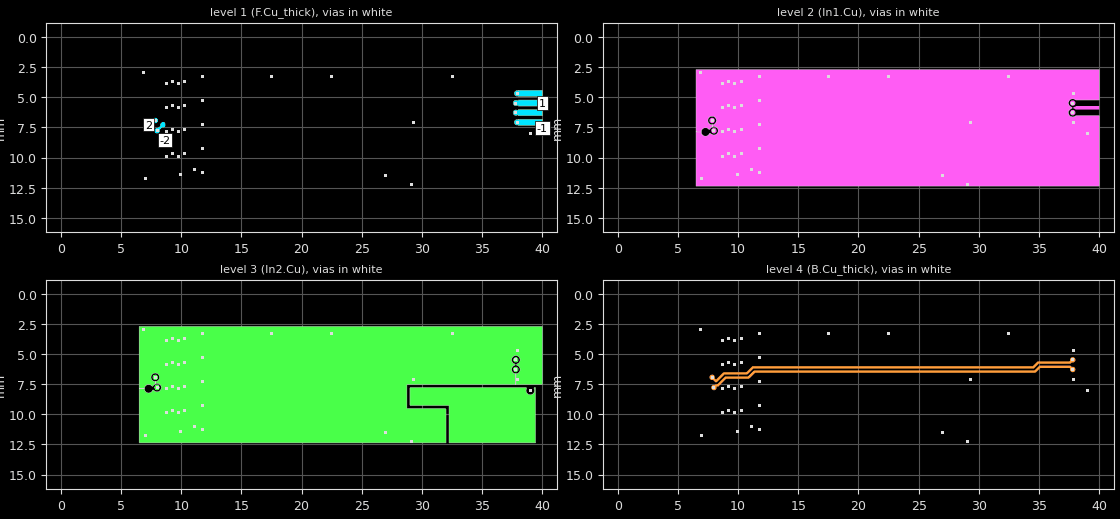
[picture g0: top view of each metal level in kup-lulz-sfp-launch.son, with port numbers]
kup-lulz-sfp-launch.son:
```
FTYP SONPROJ 19 ! Sonnet Project File
VER 18.56
HEADER
LIC antikernel2.1.52448
DAT 03/01/2024 21:13:18
BUILT_BY_CREATED dxf 18.56 02/22/2024 23:40:04
BUILT_BY_SAVED sonnet 18.56
MDATE 03/01/2024 21:13:18
HDATE 03/01/2024 21:13:18
ANN Created by dxfgeo, Sonnet Software Inc.
END HEADER
DIM
ANG DEG
CAP PF
CON /OH
FREQ GHZ
IND NH
LNG MM
RES OH
END DIM
CONTROL
VARSWP
OPTIONS  -dj
SPEED 1
CACHE_ABS 2
Q_ACC N
END CONTROL
GEO
TMET "Free Space" 0 FREESPACE 376.7303136 0 0 0
BMET "Free Space" 0 FREESPACE 376.7303136 0 0 0
MET "Copper_1oz+plated_thick_up" 1 TMM 58000000 0.5 0.0432 2
MET "Copper_1oz+plated_thin" 4 NOR 58000000 0.5 0.0432 
MET "Copper_0.5oz_thin" 2 NOR 58000000 0.5 0.0175 
MET "Copper_1oz+plated_thick_down" 3 TMM 58000000 0.5 0.0432 2 CDVY TDWN
BOX 6 40 15 3200 1200 20 0
      10 1 1 0 0 0 0 "Air"
      0.05 3.5 1 0.02 0 0 0 "Soldermask"
      0.2021 3.61 1 0.0092 0 0 0 "Isola_FR408HR"
      1.1938 3.61 1 0.0092 0 0 0 "Isola_FR408HR"
      0.2021 3.61 1 0.0092 0 0 0 "Isola_FR408HR"
      0.05 3.5 1 0.02 0 0 0 "Soldermask"
      10 1 1 0 0 0 0 "Air"
TECHLAY METAL F.Cu_thick L1D0 -1 -65534 CAD F.Cu drawing 
1 0 0 N 2088 1 1 100 100 0 0 0 Y
END
END
TECHLAY METAL F.Cu_thin <UNSPECIFIED> -2 -65534 CAD F.Cu_thin drawing 
1 0 1 N 2090 1 1 100 100 0 0 0 Y
END
END
TECHLAY VIA Via1 L5D0 -7 -65534 CAD Via1 drawing 
VIA POLYGON
1 0 -1 N 2550 1 1 100 100 0 0 0 Y
TOLEVEL 4 RING NOCOVERS
END
END
TECHLAY METAL In1.Cu L2D0 -3 -65534 CAD In1.Cu drawing 
2 0 2 N 2095 1 1 100 100 0 0 0 Y
END
END
TECHLAY METAL In2.Cu L3D0 -4 -65534 CAD In2.Cu drawing 
3 0 2 N 2098 1 1 100 100 0 0 0 Y
END
END
TECHLAY METAL B.Cu_thick L4D0 -5 -65534 CAD B.Cu drawing 
4 0 3 N 2101 1 1 100 100 0 0 0 Y
END
END
TECHLAY METAL B.Cu_thin <UNSPECIFIED> -6 -65534 CAD B.Cu_thin drawing 
4 0 1 N 2103 1 1 100 100 0 0 0 Y
END
END
LORGN 0 15 U 
POR1 BOX
POLY 2221 1
51
1 100 0 0 0 39.993 5.471 
POR1 BOX
POLY 2454 1
51
-1 100 0 0 0 39.993 6.271 
POR1 CUP Auto
GNDREF AUTO
TERMW FEED
POLY 2530 1
90
2 100 0 0 0 7.3 7.271 
CUPGRP "Auto" LOCAL
ID 2548
END
POR1 CUP Auto
GNDREF AUTO
TERMW FEED
POLY 2532 1
33
-2 100 0 0 0 8.675 7.271 
CUPGRP "Auto" LOCAL
ID 2549
END
NUM 58
1 53 0 N 2221 1 1 100 100 0 0 0 Y
TLAYNAM F.Cu_thick INH
39.993 5.721
37.993 5.721
37.993 5.661
37.914 5.661
37.909 5.664
37.889 5.674
37.869 5.683
37.848 5.689
37.826 5.694
37.804 5.696
37.782 5.696
37.76 5.694
37.738 5.689
37.717 5.683
37.697 5.674
37.677 5.664
37.659 5.652
37.642 5.638
37.626 5.622
37.612 5.605
37.6 5.587
37.59 5.567
37.581 5.547
37.575 5.526
37.57 5.504
37.568 5.482
37.568 5.46
37.57 5.438
37.575 5.416
37.581 5.395
37.59 5.375
37.6 5.355
37.612 5.337
37.626 5.32
37.642 5.304
37.659 5.29
37.677 5.278
37.697 5.268
37.717 5.259
37.738 5.253
37.76 5.248
37.782 5.246
37.804 5.246
37.826 5.248
37.848 5.253
37.869 5.259
37.889 5.268
37.909 5.278
37.914 5.281
37.993 5.281
37.993 5.221
39.993 5.221
39.993 5.721
END
1 49 0 N 2225 1 1 100 100 0 0 0 Y
TLAYNAM F.Cu_thick INH
39.993 7.321
37.993 7.321
37.993 7.272
37.989 7.274
37.969 7.283
37.948 7.289
37.926 7.294
37.904 7.296
37.882 7.296
37.86 7.294
37.838 7.289
37.817 7.283
37.797 7.274
37.777 7.264
37.759 7.252
37.742 7.238
37.726 7.222
37.712 7.205
37.7 7.187
37.69 7.167
37.681 7.147
37.675 7.126
37.67 7.104
37.668 7.082
37.668 7.06
37.67 7.038
37.675 7.016
37.681 6.995
37.69 6.975
37.7 6.955
37.712 6.937
37.726 6.92
37.742 6.904
37.759 6.89
37.777 6.878
37.797 6.868
37.817 6.859
37.838 6.853
37.86 6.848
37.882 6.846
37.904 6.846
37.926 6.848
37.948 6.853
37.969 6.859
37.989 6.868
37.993 6.87
37.993 6.821
39.993 6.821
39.993 7.321
END
1 49 0 N 2400 1 1 100 100 0 0 0 Y
TLAYNAM F.Cu_thick INH
39.993 4.921
37.993 4.921
37.993 4.872
37.989 4.874
37.969 4.883
37.948 4.889
37.926 4.894
37.904 4.896
37.882 4.896
37.86 4.894
37.838 4.889
37.817 4.883
37.797 4.874
37.777 4.864
37.759 4.852
37.742 4.838
37.726 4.822
37.712 4.805
37.7 4.787
37.69 4.767
37.681 4.747
37.675 4.726
37.67 4.704
37.668 4.682
37.668 4.66
37.67 4.638
37.675 4.616
37.681 4.595
37.69 4.575
37.7 4.555
37.712 4.537
37.726 4.52
37.742 4.504
37.759 4.49
37.777 4.478
37.797 4.468
37.817 4.459
37.838 4.453
37.86 4.448
37.882 4.446
37.904 4.446
37.926 4.448
37.948 4.453
37.969 4.459
37.989 4.468
37.993 4.47
37.993 4.421
39.993 4.421
39.993 4.921
END
1 53 0 N 2454 1 1 100 100 0 0 0 Y
TLAYNAM F.Cu_thick INH
39.993 6.521
37.993 6.521
37.993 6.461
37.914 6.461
37.909 6.464
37.889 6.474
37.869 6.483
37.848 6.489
37.826 6.494
37.804 6.496
37.782 6.496
37.76 6.494
37.738 6.489
37.717 6.483
37.697 6.474
37.677 6.464
37.659 6.452
37.642 6.438
37.626 6.422
37.612 6.405
37.6 6.387
37.59 6.367
37.581 6.347
37.575 6.326
37.57 6.304
37.568 6.282
37.568 6.26
37.57 6.238
37.575 6.216
37.581 6.195
37.59 6.175
37.6 6.155
37.612 6.137
37.626 6.12
37.642 6.104
37.659 6.09
37.677 6.078
37.697 6.068
37.717 6.059
37.738 6.053
37.76 6.048
37.782 6.046
37.804 6.046
37.826 6.048
37.848 6.053
37.869 6.059
37.889 6.068
37.909 6.078
37.914 6.081
37.993 6.081
37.993 6.021
39.993 6.021
39.993 6.521
END
1 105 0 N 2530 1 1 100 100 0 0 0 Y
TLAYNAM F.Cu_thick INH
7.526 7.494
7.548 7.489
7.569 7.483
7.589 7.474
7.609 7.464
7.627 7.452
7.644 7.438
7.66 7.422
7.674 7.405
7.686 7.387
7.696 7.367
7.705 7.347
7.711 7.326
7.716 7.304
7.718 7.282
7.718 7.26
7.716 7.238
7.711 7.216
7.706 7.199
7.771 7.134
7.788 7.139
7.81 7.144
7.832 7.146
7.854 7.146
7.876 7.144
7.898 7.139
7.919 7.133
7.939 7.124
7.959 7.114
7.977 7.102
7.994 7.088
8.01 7.072
8.024 7.055
8.036 7.037
8.046 7.017
8.055 6.997
8.061 6.976
8.066 6.954
8.068 6.932
8.068 6.91
8.066 6.888
8.061 6.866
8.055 6.845
8.046 6.825
8.036 6.805
8.024 6.787
8.01 6.77
7.994 6.754
7.977 6.74
7.959 6.728
7.939 6.718
7.919 6.709
7.898 6.703
7.876 6.698
7.854 6.696
7.832 6.696
7.81 6.698
7.788 6.703
7.767 6.709
7.747 6.718
7.727 6.728
7.709 6.74
7.692 6.754
7.676 6.77
7.662 6.787
7.65 6.805
7.64 6.825
7.631 6.845
7.625 6.866
7.62 6.888
7.618 6.91
7.618 6.932
7.62 6.954
7.625 6.976
7.63 6.993
7.565 7.058
7.548 7.053
7.526 7.048
7.504 7.046
7.482 7.046
7.46 7.048
7.438 7.053
7.417 7.059
7.397 7.068
7.377 7.078
7.359 7.09
7.342 7.104
7.326 7.12
7.312 7.137
7.3 7.155
7.3 7.155
7.3 7.387
7.3 7.387
7.312 7.405
7.326 7.422
7.342 7.438
7.359 7.452
7.377 7.464
7.397 7.474
7.417 7.483
7.438 7.489
7.46 7.494
7.482 7.496
7.504 7.496
7.526 7.494
END
1 103 0 N 2532 1 1 100 100 0 0 0 Y
TLAYNAM F.Cu_thick INH
8.026 7.994
8.048 7.989
8.069 7.983
8.089 7.974
8.109 7.964
8.127 7.952
8.144 7.938
8.16 7.922
8.174 7.905
8.186 7.887
8.196 7.867
8.205 7.847
8.211 7.826
8.216 7.804
8.218 7.782
8.218 7.76
8.216 7.738
8.211 7.716
8.206 7.699
8.421 7.484
8.438 7.489
8.46 7.494
8.482 7.496
8.504 7.496
8.526 7.494
8.548 7.489
8.569 7.483
8.589 7.474
8.609 7.464
8.627 7.452
8.644 7.438
8.66 7.422
8.674 7.405
8.675 7.4035
8.675 7.1385
8.674 7.137
8.66 7.12
8.644 7.104
8.627 7.09
8.609 7.078
8.589 7.068
8.569 7.059
8.548 7.053
8.526 7.048
8.504 7.046
8.482 7.046
8.46 7.048
8.438 7.053
8.417 7.059
8.397 7.068
8.377 7.078
8.359 7.09
8.342 7.104
8.326 7.12
8.312 7.137
8.3 7.155
8.29 7.175
8.281 7.195
8.275 7.216
8.27 7.238
8.268 7.26
8.268 7.282
8.27 7.304
8.275 7.326
8.28 7.343
8.065 7.558
8.048 7.553
8.026 7.548
8.004 7.546
7.982 7.546
7.96 7.548
7.938 7.553
7.917 7.559
7.897 7.568
7.877 7.578
7.859 7.59
7.842 7.604
7.826 7.62
7.812 7.637
7.8 7.655
7.79 7.675
7.781 7.695
7.775 7.716
7.77 7.738
7.768 7.76
7.768 7.782
7.77 7.804
7.775 7.826
7.781 7.847
7.79 7.867
7.8 7.887
7.812 7.905
7.826 7.922
7.842 7.938
7.859 7.952
7.877 7.964
7.897 7.974
7.917 7.983
7.938 7.989
7.96 7.994
7.982 7.996
8.004 7.996
8.026 7.994
END
VIA POLYGON
1 5 -1 N 2214 1 1 100 100 0 0 0 Y
TOLEVEL 4 RING NOCOVERS
TLAYNAM Via1 INH
38.018 7.196
37.768 7.196
37.768 6.946
38.018 6.946
38.018 7.196
END
VIA POLYGON
1 5 -1 N 2230 1 1 100 100 0 0 0 Y
TOLEVEL 4 RING NOCOVERS
TLAYNAM Via1 INH
29.418 7.196
29.168 7.196
29.168 6.946
29.418 6.946
29.418 7.196
END
VIA POLYGON
1 5 -1 N 2236 1 1 100 100 0 0 0 Y
TOLEVEL 4 RING NOCOVERS
TLAYNAM Via1 INH
10.368 5.796
10.118 5.796
10.118 5.546
10.368 5.546
10.368 5.796
END
VIA POLYGON
1 5 -1 N 2241 1 1 100 100 0 0 0 Y
TOLEVEL 4 RING NOCOVERS
TLAYNAM Via1 INH
8.868 9.996
8.618 9.996
8.618 9.746
8.868 9.746
8.868 9.996
END
VIA POLYGON
1 5 -1 N 2242 1 1 100 100 0 0 0 Y
TOLEVEL 4 RING NOCOVERS
TLAYNAM Via1 INH
8.868 5.996
8.618 5.996
8.618 5.746
8.868 5.746
8.868 5.996
END
VIA POLYGON
1 5 -1 N 2253 1 1 100 100 0 0 0 Y
TOLEVEL 4 RING NOCOVERS
TLAYNAM Via1 INH
6.968 3.046
6.718 3.046
6.718 2.796
6.968 2.796
6.968 3.046
END
VIA POLYGON
1 5 -1 N 2255 1 1 100 100 0 0 0 Y
TOLEVEL 4 RING NOCOVERS
TLAYNAM Via1 INH
11.201 11.155
10.951 11.155
10.951 10.905
11.201 10.905
11.201 11.155
END
VIA POLYGON
1 5 -1 N 2265 1 1 100 100 0 0 0 Y
TOLEVEL 4 RING NOCOVERS
TLAYNAM Via1 INH
37.918 5.596
37.668 5.596
37.668 5.346
37.918 5.346
37.918 5.596
END
VIA POLYGON
1 5 -1 N 2270 1 1 100 100 0 0 0 Y
TOLEVEL 4 RING NOCOVERS
TLAYNAM Via1 INH
7.118 11.896
6.868 11.896
6.868 11.646
7.118 11.646
7.118 11.896
END
VIA POLYGON
1 5 -1 N 2273 1 1 100 100 0 0 0 Y
TOLEVEL 4 RING NOCOVERS
TLAYNAM Via1 INH
9.368 3.796
9.118 3.796
9.118 3.546
9.368 3.546
9.368 3.796
END
VIA POLYGON
1 5 -1 N 2281 1 1 100 100 0 0 0 Y
TOLEVEL 4 RING NOCOVERS
TLAYNAM Via1 INH
10.068 11.546
9.818 11.546
9.818 11.296
10.068 11.296
10.068 11.546
END
VIA POLYGON
1 5 -1 N 2286 1 1 100 100 0 0 0 Y
TOLEVEL 4 RING NOCOVERS
TLAYNAM Via1 INH
38.018 4.796
37.768 4.796
37.768 4.546
38.018 4.546
38.018 4.796
END
VIA POLYGON
1 5 -1 N 2294 1 1 100 100 0 0 0 Y
TOLEVEL 4 RING NOCOVERS
TLAYNAM Via1 INH
28.968 12.146
28.968 12.369
29.218 12.369
29.218 12.146
28.968 12.146
END
VIA POLYGON
1 5 -1 N 2298 1 1 100 100 0 0 0 Y
TOLEVEL 4 RING NOCOVERS
TLAYNAM Via1 INH
7.968 7.046
7.718 7.046
7.718 6.796
7.968 6.796
7.968 7.046
END
VIA POLYGON
1 5 -1 N 2301 1 1 100 100 0 0 0 Y
TOLEVEL 4 RING NOCOVERS
TLAYNAM Via1 INH
9.368 7.796
9.118 7.796
9.118 7.546
9.368 7.546
9.368 7.796
END
VIA POLYGON
1 5 -1 N 2304 1 1 100 100 0 0 0 Y
TOLEVEL 4 RING NOCOVERS
TLAYNAM Via1 INH
8.868 7.996
8.618 7.996
8.618 7.746
8.868 7.746
8.868 7.996
END
VIA POLYGON
1 5 -1 N 2306 1 1 100 100 0 0 0 Y
TOLEVEL 4 RING NOCOVERS
TLAYNAM Via1 INH
11.918 5.396
11.668 5.396
11.668 5.146
11.918 5.146
11.918 5.396
END
VIA POLYGON
1 5 -1 N 2308 1 1 100 100 0 0 0 Y
TOLEVEL 4 RING NOCOVERS
TLAYNAM Via1 INH
9.868 5.996
9.618 5.996
9.618 5.746
9.868 5.746
9.868 5.996
END
VIA POLYGON
1 5 -1 N 2309 1 1 100 100 0 0 0 Y
TOLEVEL 4 RING NOCOVERS
TLAYNAM Via1 INH
11.918 7.396
11.668 7.396
11.668 7.146
11.918 7.146
11.918 7.396
END
VIA POLYGON
1 5 -1 N 2311 1 1 100 100 0 0 0 Y
TOLEVEL 4 RING NOCOVERS
TLAYNAM Via1 INH
27.118 11.596
26.868 11.596
26.868 11.346
27.118 11.346
27.118 11.596
END
VIA POLYGON
1 5 -1 N 2314 1 1 100 100 0 0 0 Y
TOLEVEL 4 RING NOCOVERS
TLAYNAM Via1 INH
10.368 9.796
10.118 9.796
10.118 9.546
10.368 9.546
10.368 9.796
END
VIA POLYGON
1 5 -1 N 2320 1 1 100 100 0 0 0 Y
TOLEVEL 4 RING NOCOVERS
TLAYNAM Via1 INH
9.368 9.796
9.118 9.796
9.118 9.546
9.368 9.546
9.368 9.796
END
VIA POLYGON
1 5 -1 N 2323 1 1 100 100 0 0 0 Y
TOLEVEL 4 RING NOCOVERS
TLAYNAM Via1 INH
8.118 7.896
7.868 7.896
7.868 7.646
8.118 7.646
8.118 7.896
END
VIA POLYGON
1 5 -1 N 2328 1 1 100 100 0 0 0 Y
TOLEVEL 4 RING NOCOVERS
TLAYNAM Via1 INH
8.868 3.996
8.618 3.996
8.618 3.746
8.868 3.746
8.868 3.996
END
VIA POLYGON
1 5 -1 N 2344 1 1 100 100 0 0 0 Y
TOLEVEL 4 RING NOCOVERS
TLAYNAM Via1 INH
11.918 3.396
11.668 3.396
11.668 3.146
11.918 3.146
11.918 3.396
END
VIA POLYGON
1 5 -1 N 2346 1 1 100 100 0 0 0 Y
TOLEVEL 4 RING NOCOVERS
TLAYNAM Via1 INH
37.918 6.396
37.668 6.396
37.668 6.146
37.918 6.146
37.918 6.396
END
VIA POLYGON
1 5 -1 N 2370 1 1 100 100 0 0 0 Y
TOLEVEL 4 RING NOCOVERS
TLAYNAM Via1 INH
11.918 9.396
11.668 9.396
11.668 9.146
11.918 9.146
11.918 9.396
END
VIA POLYGON
1 5 -1 N 2372 1 1 100 100 0 0 0 Y
TOLEVEL 4 RING NOCOVERS
TLAYNAM Via1 INH
9.868 7.996
9.618 7.996
9.618 7.746
9.868 7.746
9.868 7.996
END
VIA POLYGON
1 5 -1 N 2375 1 1 100 100 0 0 0 Y
TOLEVEL 4 RING NOCOVERS
TLAYNAM Via1 INH
9.368 5.796
9.118 5.796
9.118 5.546
9.368 5.546
9.368 5.796
END
VIA POLYGON
1 5 -1 N 2384 1 1 100 100 0 0 0 Y
TOLEVEL 4 RING NOCOVERS
TLAYNAM Via1 INH
17.618 3.396
17.368 3.396
17.368 3.146
17.618 3.146
17.618 3.396
END
VIA POLYGON
1 5 -1 N 2393 1 1 100 100 0 0 0 Y
TOLEVEL 4 RING NOCOVERS
TLAYNAM Via1 INH
10.368 3.796
10.118 3.796
10.118 3.546
10.368 3.546
10.368 3.796
END
VIA POLYGON
1 5 -1 N 2398 1 1 100 100 0 0 0 Y
TOLEVEL 4 RING NOCOVERS
TLAYNAM Via1 INH
9.868 3.996
9.618 3.996
9.618 3.746
9.868 3.746
9.868 3.996
END
VIA POLYGON
1 5 -1 N 2402 1 1 100 100 0 0 0 Y
TOLEVEL 4 RING NOCOVERS
TLAYNAM Via1 INH
9.868 9.996
9.618 9.996
9.618 9.746
9.868 9.746
9.868 9.996
END
VIA POLYGON
1 5 -1 N 2434 1 1 100 100 0 0 0 Y
TOLEVEL 4 RING NOCOVERS
TLAYNAM Via1 INH
22.618 3.396
22.368 3.396
22.368 3.146
22.618 3.146
22.618 3.396
END
VIA POLYGON
1 5 -1 N 2438 1 1 100 100 0 0 0 Y
TOLEVEL 4 RING NOCOVERS
TLAYNAM Via1 INH
11.918 11.396
11.668 11.396
11.668 11.146
11.918 11.146
11.918 11.396
END
VIA POLYGON
1 5 -1 N 2441 1 1 100 100 0 0 0 Y
TOLEVEL 4 RING NOCOVERS
TLAYNAM Via1 INH
10.368 7.796
10.118 7.796
10.118 7.546
10.368 7.546
10.368 7.796
END
VIA POLYGON
1 5 -1 N 2448 1 1 100 100 0 0 0 Y
TOLEVEL 4 RING NOCOVERS
TLAYNAM Via1 INH
32.618 3.396
32.368 3.396
32.368 3.146
32.618 3.146
32.618 3.396
END
VIA POLYGON
1 5 -1 N 2468 1 1 100 100 0 0 0 Y
TOLEVEL 4 RING NOCOVERS
TLAYNAM Via1 INH
39.118 8.146
38.868 8.146
38.868 7.896
39.118 7.896
39.118 8.146
END
2 65 2 N 2275 1 1 100 100 0 0 0 Y
TLAYNAM In1.Cu INH
38.018 6.282
38.016 6.304
38.011 6.326
38.005 6.347
37.996 6.367
37.986 6.387
37.974 6.405
37.96 6.422
37.944 6.438
37.927 6.452
37.909 6.464
37.889 6.474
37.869 6.483
37.848 6.489
37.826 6.494
37.804 6.496
37.782 6.496
37.76 6.494
37.738 6.489
37.717 6.483
37.697 6.474
37.677 6.464
37.659 6.452
37.642 6.438
37.626 6.422
37.612 6.405
37.6 6.387
37.59 6.367
37.581 6.347
37.575 6.326
37.57 6.304
37.568 6.282
37.568 6.26
37.57 6.238
37.575 6.216
37.581 6.195
37.59 6.175
37.6 6.155
37.612 6.137
37.626 6.12
37.642 6.104
37.659 6.09
37.677 6.078
37.697 6.068
37.717 6.059
37.738 6.053
37.76 6.048
37.782 6.046
37.804 6.046
37.826 6.048
37.848 6.053
37.869 6.059
37.889 6.068
37.909 6.078
37.927 6.09
37.944 6.104
37.96 6.12
37.974 6.137
37.986 6.155
37.996 6.175
38.005 6.195
38.011 6.216
38.016 6.238
38.018 6.26
38.018 6.282
END
2 65 2 N 2277 1 1 100 100 0 0 0 Y
TLAYNAM In1.Cu INH
38.018 5.482
38.016 5.504
38.011 5.526
38.005 5.547
37.996 5.567
37.986 5.587
37.974 5.605
37.96 5.622
37.944 5.638
37.927 5.652
37.909 5.664
37.889 5.674
37.869 5.683
37.848 5.689
37.826 5.694
37.804 5.696
37.782 5.696
37.76 5.694
37.738 5.689
37.717 5.683
37.697 5.674
37.677 5.664
37.659 5.652
37.642 5.638
37.626 5.622
37.612 5.605
37.6 5.587
37.59 5.567
37.581 5.547
37.575 5.526
37.57 5.504
37.568 5.482
37.568 5.46
37.57 5.438
37.575 5.416
37.581 5.395
37.59 5.375
37.6 5.355
37.612 5.337
37.626 5.32
37.642 5.304
37.659 5.29
37.677 5.278
37.697 5.268
37.717 5.259
37.738 5.253
37.76 5.248
37.782 5.246
37.804 5.246
37.826 5.248
37.848 5.253
37.869 5.259
37.889 5.268
37.909 5.278
37.927 5.29
37.944 5.304
37.96 5.32
37.974 5.337
37.986 5.355
37.996 5.375
38.005 5.395
38.011 5.416
38.016 5.438
38.018 5.46
38.018 5.482
END
2 65 2 N 2365 1 1 100 100 0 0 0 Y
TLAYNAM In1.Cu INH
8.068 6.932
8.066 6.954
8.061 6.976
8.055 6.997
8.046 7.017
8.036 7.037
8.024 7.055
8.01 7.072
7.994 7.088
7.977 7.102
7.959 7.114
7.939 7.124
7.919 7.133
7.898 7.139
7.876 7.144
7.854 7.146
7.832 7.146
7.81 7.144
7.788 7.139
7.767 7.133
7.747 7.124
7.727 7.114
7.709 7.102
7.692 7.088
7.676 7.072
7.662 7.055
7.65 7.037
7.64 7.017
7.631 6.997
7.625 6.976
7.62 6.954
7.618 6.932
7.618 6.91
7.62 6.888
7.625 6.866
7.631 6.845
7.64 6.825
7.65 6.805
7.662 6.787
7.676 6.77
7.692 6.754
7.709 6.74
7.727 6.728
7.747 6.718
7.767 6.709
7.788 6.703
7.81 6.698
7.832 6.696
7.854 6.696
7.876 6.698
7.898 6.703
7.919 6.709
7.939 6.718
7.959 6.728
7.977 6.74
7.994 6.754
8.01 6.77
8.024 6.787
8.036 6.805
8.046 6.825
8.055 6.845
8.061 6.866
8.066 6.888
8.068 6.91
8.068 6.932
END
2 65 2 N 2388 1 1 100 100 0 0 0 Y
TLAYNAM In1.Cu INH
8.218 7.782
8.216 7.804
8.211 7.826
8.205 7.847
8.196 7.867
8.186 7.887
8.174 7.905
8.16 7.922
8.144 7.938
8.127 7.952
8.109 7.964
8.089 7.974
8.069 7.983
8.048 7.989
8.026 7.994
8.004 7.996
7.982 7.996
7.96 7.994
7.938 7.989
7.917 7.983
7.897 7.974
7.877 7.964
7.859 7.952
7.842 7.938
7.826 7.922
7.812 7.905
7.8 7.887
7.79 7.867
7.781 7.847
7.775 7.826
7.77 7.804
7.768 7.782
7.768 7.76
7.77 7.738
7.775 7.716
7.781 7.695
7.79 7.675
7.8 7.655
7.812 7.637
7.826 7.62
7.842 7.604
7.859 7.59
7.877 7.578
7.897 7.568
7.917 7.559
7.938 7.553
7.96 7.548
7.982 7.546
8.004 7.546
8.026 7.548
8.048 7.553
8.069 7.559
8.089 7.568
8.109 7.578
8.127 7.59
8.144 7.604
8.16 7.62
8.174 7.637
8.186 7.655
8.196 7.675
8.205 7.695
8.211 7.716
8.216 7.738
8.218 7.76
8.218 7.782
END
2 16 2 N 2478 1 1 100 100 0 0 0 Y
TLAYNAM In1.Cu INH
39.993 5.721
38.064 5.721
38.021 5.739
38.002 5.758
37.903 5.808
37.892 5.81
37.865 5.821
37.84 5.861
37.851 5.907
37.892 5.932
37.903 5.933
38.002 5.984
38.021 6.003
38.064 6.021
39.993 6.021
39.993 5.721
END
2 127 2 N 2509 1 1 100 100 0 0 0 Y
TLAYNAM In1.Cu INH
39.993 6.521
38.064 6.521
38.021 6.539
38.002 6.558
37.903 6.608
37.793 6.626
37.683 6.608
37.584 6.558
37.578 6.552
37.578 6.552
37.506 6.48
37.456 6.381
37.438 6.271
37.456 6.161
37.506 6.062
37.584 5.984
37.683 5.933
37.694 5.932
37.721 5.921
37.746 5.881
37.735 5.835
37.694 5.81
37.683 5.808
37.584 5.758
37.506 5.68
37.456 5.581
37.438 5.471
37.456 5.361
37.506 5.262
37.584 5.184
37.683 5.133
37.793 5.116
37.903 5.133
37.944 5.155
38.002 5.184
38.021 5.203
38.064 5.221
39.993 5.221
39.993 4.875
39.993 2.694
6.506 2.694
6.506 4.16911
6.506 7.871
6.938 7.871
6.956 7.761
7.006 7.662
7.038 7.63
7.084 7.584
7.183 7.533
7.293 7.516
7.393 7.532
7.403 7.533
7.488 7.577
7.502 7.584
7.57 7.652
7.585 7.663
7.632 7.667
7.668 7.637
7.68 7.613
7.706 7.562
7.784 7.484
7.843 7.454
7.883 7.433
7.883 7.269455
7.883 7.269455
7.843 7.276
7.733 7.258
7.634 7.208
7.556 7.13
7.506 7.031
7.488 6.921
7.506 6.811
7.556 6.712
7.634 6.634
7.733 6.583
7.843 6.566
7.953 6.583
8.052 6.634
8.13 6.712
8.181 6.811
8.198 6.921
8.181 7.031
8.13 7.13
8.052 7.208
7.953 7.258
7.883 7.269455
7.883 7.433
7.883 7.433
7.883 7.433
7.883 7.433
7.883 7.433
7.883 7.433
7.993 7.416
8.103 7.433
8.202 7.484
8.28 7.562
8.331 7.661
8.348 7.771
8.331 7.881
8.28 7.98
8.202 8.058
8.103 8.108
7.993 8.126
7.883 8.108
7.784 8.058
7.716 7.99
7.701 7.979
7.654 7.975
7.618 8.005
7.582 8.075
7.58 8.08
7.502 8.158
7.403 8.208
7.293 8.226
7.183 8.208
7.084 8.158
7.006 8.08
6.956 7.981
6.938 7.871
6.506 7.871
6.506 7.871
6.506 8.7
6.506 9.621
6.506 10.771
6.506 12.369
39.993 12.369
39.993 6.521
END
3 65 2 N 2252 1 1 100 100 0 0 0 Y
TLAYNAM In2.Cu INH
38.018 6.282
38.016 6.304
38.011 6.326
38.005 6.347
37.996 6.367
37.986 6.387
37.974 6.405
37.96 6.422
37.944 6.438
37.927 6.452
37.909 6.464
37.889 6.474
37.869 6.483
37.848 6.489
37.826 6.494
37.804 6.496
37.782 6.496
37.76 6.494
37.738 6.489
37.717 6.483
37.697 6.474
37.677 6.464
37.659 6.452
37.642 6.438
37.626 6.422
37.612 6.405
37.6 6.387
37.59 6.367
37.581 6.347
37.575 6.326
37.57 6.304
37.568 6.282
37.568 6.26
37.57 6.238
37.575 6.216
37.581 6.195
37.59 6.175
37.6 6.155
37.612 6.137
37.626 6.12
37.642 6.104
37.659 6.09
37.677 6.078
37.697 6.068
37.717 6.059
37.738 6.053
37.76 6.048
37.782 6.046
37.804 6.046
37.826 6.048
37.848 6.053
37.869 6.059
37.889 6.068
37.909 6.078
37.927 6.09
37.944 6.104
37.96 6.12
37.974 6.137
37.986 6.155
37.996 6.175
38.005 6.195
38.011 6.216
38.016 6.238
38.018 6.26
38.018 6.282
END
3 65 2 N 2379 1 1 100 100 0 0 0 Y
TLAYNAM In2.Cu INH
8.068 6.932
8.066 6.954
8.061 6.976
8.055 6.997
8.046 7.017
8.036 7.037
8.024 7.055
8.01 7.072
7.994 7.088
7.977 7.102
7.959 7.114
7.939 7.124
7.919 7.133
7.898 7.139
7.876 7.144
7.854 7.146
7.832 7.146
7.81 7.144
7.788 7.139
7.767 7.133
7.747 7.124
7.727 7.114
7.709 7.102
7.692 7.088
7.676 7.072
7.662 7.055
7.65 7.037
7.64 7.017
7.631 6.997
7.625 6.976
7.62 6.954
7.618 6.932
7.618 6.91
7.62 6.888
7.625 6.866
7.631 6.845
7.64 6.825
7.65 6.805
7.662 6.787
7.676 6.77
7.692 6.754
7.709 6.74
7.727 6.728
7.747 6.718
7.767 6.709
7.788 6.703
7.81 6.698
7.832 6.696
7.854 6.696
7.876 6.698
7.898 6.703
7.919 6.709
7.939 6.718
7.959 6.728
7.977 6.74
7.994 6.754
8.01 6.77
8.024 6.787
8.036 6.805
8.046 6.825
8.055 6.845
8.061 6.866
8.066 6.888
8.068 6.91
8.068 6.932
END
3 65 2 N 2411 1 1 100 100 0 0 0 Y
TLAYNAM In2.Cu INH
38.018 5.482
38.016 5.504
38.011 5.526
38.005 5.547
37.996 5.567
37.986 5.587
37.974 5.605
37.96 5.622
37.944 5.638
37.927 5.652
37.909 5.664
37.889 5.674
37.869 5.683
37.848 5.689
37.826 5.694
37.804 5.696
37.782 5.696
37.76 5.694
37.738 5.689
37.717 5.683
37.697 5.674
37.677 5.664
37.659 5.652
37.642 5.638
37.626 5.622
37.612 5.605
37.6 5.587
37.59 5.567
37.581 5.547
37.575 5.526
37.57 5.504
37.568 5.482
37.568 5.46
37.57 5.438
37.575 5.416
37.581 5.395
37.59 5.375
37.6 5.355
37.612 5.337
37.626 5.32
37.642 5.304
37.659 5.29
37.677 5.278
37.697 5.268
37.717 5.259
37.738 5.253
37.76 5.248
37.782 5.246
37.804 5.246
37.826 5.248
37.848 5.253
37.869 5.259
37.889 5.268
37.909 5.278
37.927 5.29
37.944 5.304
37.96 5.32
37.974 5.337
37.986 5.355
37.996 5.375
38.005 5.395
38.011 5.416
38.016 5.438
38.018 5.46
38.018 5.482
END
3 65 2 N 2432 1 1 100 100 0 0 0 Y
TLAYNAM In2.Cu INH
8.218 7.782
8.216 7.804
8.211 7.826
8.205 7.847
8.196 7.867
8.186 7.887
8.174 7.905
8.16 7.922
8.144 7.938
8.127 7.952
8.109 7.964
8.089 7.974
8.069 7.983
8.048 7.989
8.026 7.994
8.004 7.996
7.982 7.996
7.96 7.994
7.938 7.989
7.917 7.983
7.897 7.974
7.877 7.964
7.859 7.952
7.842 7.938
7.826 7.922
7.812 7.905
7.8 7.887
7.79 7.867
7.781 7.847
7.775 7.826
7.77 7.804
7.768 7.782
7.768 7.76
7.77 7.738
7.775 7.716
7.781 7.695
7.79 7.675
7.8 7.655
7.812 7.637
7.826 7.62
7.842 7.604
7.859 7.59
7.877 7.578
7.897 7.568
7.917 7.559
7.938 7.553
7.96 7.548
7.982 7.546
8.004 7.546
8.026 7.548
8.048 7.553
8.069 7.559
8.089 7.568
8.109 7.578
8.127 7.59
8.144 7.604
8.16 7.62
8.174 7.637
8.186 7.655
8.196 7.675
8.205 7.695
8.211 7.716
8.216 7.738
8.218 7.76
8.218 7.782
END
3 42 2 N 2523 1 1 100 100 0 0 0 Y
TLAYNAM In2.Cu INH
39.425 7.771
39.359 7.771
39.331 7.778
39.301 7.813
39.305 7.86
39.328 7.907
39.331 7.911
39.348 8.021
39.331 8.131
39.28 8.23
39.202 8.308
39.103 8.358
38.993 8.376
38.883 8.358
38.784 8.308
38.706 8.23
38.656 8.131
38.638 8.021
38.656 7.911
38.658 7.907
38.681 7.86
38.688 7.832
38.67 7.789
38.627 7.771
37.8 7.771
37.787 7.772
37.78277778 7.775
35.99555556 7.775
35.986 7.771
29.055 7.771
29.011 7.789
28.993 7.832
28.993 9.209
29.011 9.253
29.055 9.271
32.243 9.271
32.243 9.475
32.243 10.726
32.243 11.016
32.243 12.369
39.425 12.369
39.425 7.771
END
3 158 2 N 2528 1 1 100 100 0 0 0 Y
TLAYNAM In2.Cu INH
31.993 9.582
31.975 9.539
31.932 9.521
28.743 9.521
28.743 7.521
34.925 7.521
34.925 7.525
37.793 7.525
37.793 6.626
37.683 6.608
37.584 6.558
37.578 6.552
37.578 6.552
37.506 6.48
37.456 6.381
37.438 6.271
37.456 6.161
37.506 6.062
37.584 5.984
37.683 5.933
37.694 5.932
37.721 5.921
37.746 5.881
37.735 5.835
37.694 5.81
37.683 5.808
37.584 5.758
37.506 5.68
37.456 5.581
37.438 5.471
37.456 5.361
37.506 5.262
37.584 5.184
37.683 5.133
37.793 5.116
37.903 5.133
37.944 5.155
38.002 5.184
38.08 5.262
38.131 5.361
38.148 5.471
38.131 5.581
38.08 5.68
38.002 5.758
37.903 5.808
37.892 5.81
37.865 5.821
37.84 5.861
37.851 5.907
37.892 5.932
37.903 5.933
38.002 5.984
38.08 6.062
38.131 6.161
38.148 6.271
38.131 6.381
38.08 6.48
38.002 6.558
37.903 6.608
37.793 6.626
37.793 7.525
38.225 7.525
38.225 7.521
39.993 7.521
39.993 4.925
39.993 4.072
39.993 3.67
39.993 3.272
39.993 2.87
39.993 2.731454545
39.993 2.694
6.506 2.694
6.506 4.16911
6.506 7.871
6.938 7.871
6.956 7.761
7.006 7.662
7.038 7.63
7.084 7.584
7.183 7.533
7.293 7.516
7.393 7.532
7.403 7.533
7.488 7.577
7.502 7.584
7.57 7.652
7.585 7.663
7.632 7.667
7.668 7.637
7.68 7.613
7.706 7.562
7.784 7.484
7.843 7.454
7.883 7.433
7.883 7.269455
7.883 7.269455
7.843 7.276
7.733 7.258
7.634 7.208
7.556 7.13
7.506 7.031
7.488 6.921
7.506 6.811
7.556 6.712
7.634 6.634
7.733 6.583
7.843 6.566
7.953 6.583
8.052 6.634
8.13 6.712
8.181 6.811
8.198 6.921
8.181 7.031
8.13 7.13
8.052 7.208
7.953 7.258
7.883 7.269455
7.883 7.433
7.883 7.433
7.883 7.433
7.883 7.433
7.883 7.433
7.883 7.433
7.993 7.416
8.103 7.433
8.202 7.484
8.28 7.562
8.331 7.661
8.348 7.771
8.331 7.881
8.28 7.98
8.202 8.058
8.103 8.108
7.993 8.126
7.883 8.108
7.784 8.058
7.716 7.99
7.701 7.979
7.654 7.975
7.618 8.005
7.582 8.075
7.58 8.08
7.502 8.158
7.403 8.208
7.293 8.226
7.183 8.208
7.084 8.158
7.006 8.08
6.956 7.981
6.938 7.871
6.506 7.871
6.506 7.871
6.506 8.975
6.506 9.621
6.506 10.771
6.506 12.369
31.993 12.369
31.993 9.582
END
4 189 3 N 2263 1 1 100 100 0 0 0 Y
TLAYNAM B.Cu_thick INH
38.018 6.282
38.016 6.304
38.011 6.326
38.005 6.347
37.996 6.367
37.986 6.387
37.974 6.405
37.96 6.422
37.944 6.438
37.927 6.452
37.909 6.464
37.889 6.474
37.869 6.483
37.848 6.489
37.826 6.494
37.804 6.496
37.782 6.496
37.76 6.494
37.738 6.489
37.717 6.483
37.697 6.474
37.677 6.464
37.659 6.452
37.642 6.438
37.626 6.422
37.612 6.405
37.6 6.387
37.59 6.367
37.581 6.347
37.575 6.326
37.57 6.304
37.568 6.282
37.568 6.26
37.57 6.238
37.575 6.216
37.58 6.199
37.527 6.146
35.106 6.146
34.732 6.52
34.725 6.526
34.716 6.532
34.708 6.537
34.699 6.54
34.689 6.543
34.68 6.545
34.67 6.546
11.406 6.546
10.932 7.02
10.925 7.026
10.916 7.032
10.908 7.037
10.899 7.04
10.889 7.043
10.88 7.045
10.87 7.046
9.006 7.046
8.396 7.656
8.39 7.663
8.383 7.67
8.382 7.67
8.375 7.676
8.367 7.682
8.358 7.687
8.34 7.693
8.33 7.695
8.32 7.696
8.209 7.696
8.206 7.699
8.211 7.716
8.216 7.738
8.218 7.76
8.218 7.782
8.216 7.804
8.211 7.826
8.205 7.847
8.196 7.867
8.186 7.887
8.174 7.905
8.16 7.922
8.144 7.938
8.127 7.952
8.109 7.964
8.089 7.974
8.069 7.983
8.048 7.989
8.026 7.994
8.004 7.996
7.982 7.996
7.96 7.994
7.938 7.989
7.917 7.983
7.897 7.974
7.877 7.964
7.859 7.952
7.842 7.938
7.826 7.922
7.812 7.905
7.8 7.887
7.79 7.867
7.781 7.847
7.775 7.826
7.77 7.804
7.768 7.782
7.768 7.76
7.77 7.738
7.775 7.716
7.781 7.695
7.79 7.675
7.8 7.655
7.812 7.637
7.826 7.62
7.842 7.604
7.859 7.59
7.877 7.578
7.897 7.568
7.917 7.559
7.938 7.553
7.96 7.548
7.982 7.546
8.004 7.546
8.026 7.548
8.048 7.553
8.065 7.558
8.101 7.522
8.108 7.516
8.117 7.51
8.125 7.505
8.134 7.502
8.144 7.499
8.153 7.497
8.163 7.496
8.274 7.496
8.885 6.886
8.891 6.879
8.898 6.872
8.905 6.866
8.914 6.86
8.922 6.855
8.931 6.852
8.941 6.849
8.95 6.847
8.96 6.846
10.824 6.846
11.298 6.372
11.305 6.366
11.314 6.36
11.322 6.355
11.331 6.352
11.341 6.349
11.35 6.347
11.36 6.346
34.624 6.346
34.998 5.972
35.005 5.966
35.014 5.96
35.022 5.955
35.031 5.952
35.041 5.949
35.05 5.947
35.06 5.946
37.573 5.946
37.583 5.947
37.592 5.949
37.602 5.952
37.611 5.955
37.619 5.96
37.628 5.966
37.635 5.972
37.721 6.058
37.738 6.053
37.76 6.048
37.782 6.046
37.804 6.046
37.826 6.048
37.848 6.053
37.869 6.059
37.889 6.068
37.909 6.078
37.927 6.09
37.944 6.104
37.96 6.12
37.974 6.137
37.986 6.155
37.996 6.175
38.005 6.195
38.011 6.216
38.016 6.238
38.018 6.26
38.018 6.282
END
4 189 3 N 2459 1 1 100 100 0 0 0 Y
TLAYNAM B.Cu_thick INH
38.018 5.482
38.016 5.504
38.011 5.526
38.005 5.547
37.996 5.567
37.986 5.587
37.974 5.605
37.96 5.622
37.944 5.638
37.927 5.652
37.909 5.664
37.889 5.674
37.869 5.683
37.848 5.689
37.826 5.694
37.804 5.696
37.782 5.696
37.76 5.694
37.738 5.689
37.721 5.684
37.649 5.756
37.643 5.763
37.636 5.77
37.635 5.77
37.628 5.776
37.62 5.782
37.611 5.787
37.593 5.793
37.583 5.795
37.573 5.796
34.962 5.796
34.588 6.17
34.581 6.176
34.572 6.182
34.564 6.187
34.555 6.19
34.545 6.193
34.536 6.195
34.526 6.196
11.262 6.196
10.788 6.67
10.781 6.676
10.772 6.682
10.764 6.687
10.755 6.69
10.745 6.693
10.736 6.695
10.726 6.696
8.862 6.696
8.238 7.32
8.231 7.326
8.222 7.332
8.214 7.337
8.205 7.34
8.195 7.343
8.186 7.345
8.183 7.345
8.176 7.346
8.163 7.346
8.153 7.345
8.144 7.343
8.134 7.34
8.125 7.337
8.117 7.332
8.108 7.326
8.101 7.32
7.915 7.134
7.898 7.139
7.876 7.144
7.854 7.146
7.832 7.146
7.81 7.144
7.788 7.139
7.767 7.133
7.747 7.124
7.727 7.114
7.709 7.102
7.692 7.088
7.676 7.072
7.662 7.055
7.65 7.037
7.64 7.017
7.631 6.997
7.625 6.976
7.62 6.954
7.618 6.932
7.618 6.91
7.62 6.888
7.625 6.866
7.631 6.845
7.64 6.825
7.65 6.805
7.662 6.787
7.676 6.77
7.692 6.754
7.709 6.74
7.727 6.728
7.747 6.718
7.767 6.709
7.788 6.703
7.81 6.698
7.832 6.696
7.854 6.696
7.876 6.698
7.898 6.703
7.919 6.709
7.939 6.718
7.959 6.728
7.977 6.74
7.994 6.754
8.01 6.77
8.024 6.787
8.036 6.805
8.046 6.825
8.055 6.845
8.061 6.866
8.066 6.888
8.068 6.91
8.068 6.932
8.066 6.954
8.061 6.976
8.056 6.993
8.17 7.107
8.741 6.536
8.747 6.529
8.754 6.522
8.761 6.516
8.77 6.51
8.778 6.505
8.787 6.502
8.797 6.499
8.806 6.497
8.816 6.496
10.68 6.496
11.154 6.022
11.161 6.016
11.17 6.01
11.178 6.005
11.187 6.002
11.197 5.999
11.206 5.997
11.216 5.996
34.48 5.996
34.854 5.622
34.861 5.616
34.87 5.61
34.878 5.605
34.887 5.602
34.897 5.599
34.906 5.597
34.916 5.596
37.527 5.596
37.58 5.543
37.575 5.526
37.57 5.504
37.568 5.482
37.568 5.46
37.57 5.438
37.575 5.416
37.581 5.395
37.59 5.375
37.6 5.355
37.612 5.337
37.626 5.32
37.642 5.304
37.659 5.29
37.677 5.278
37.697 5.268
37.717 5.259
37.738 5.253
37.76 5.248
37.782 5.246
37.804 5.246
37.826 5.248
37.848 5.253
37.869 5.259
37.889 5.268
37.909 5.278
37.927 5.29
37.944 5.304
37.96 5.32
37.974 5.337
37.986 5.355
37.996 5.375
38.005 5.395
38.011 5.416
38.016 5.438
38.018 5.46
38.018 5.482
END
END GEO
OPT
MAX 100
END OPT
VARSWP
ENABLED Y
FREQ Y AY ABS_ENTRY 0.1 40.0 -1 300 
END
END VARSWP
```
